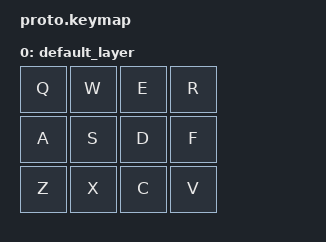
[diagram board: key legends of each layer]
#include <behaviors.dtsi>
#include <dt-bindings/zmk/keys.h>

/ {
    keymap {
        compatible = "zmk,keymap";

        default_layer {
            bindings = <
                &kp Q   &kp W   &kp E   &kp R
                &kp A   &kp S   &kp D   &kp F
                &kp Z   &kp X   &kp C   &kp V
            >;
        };
    };
};
